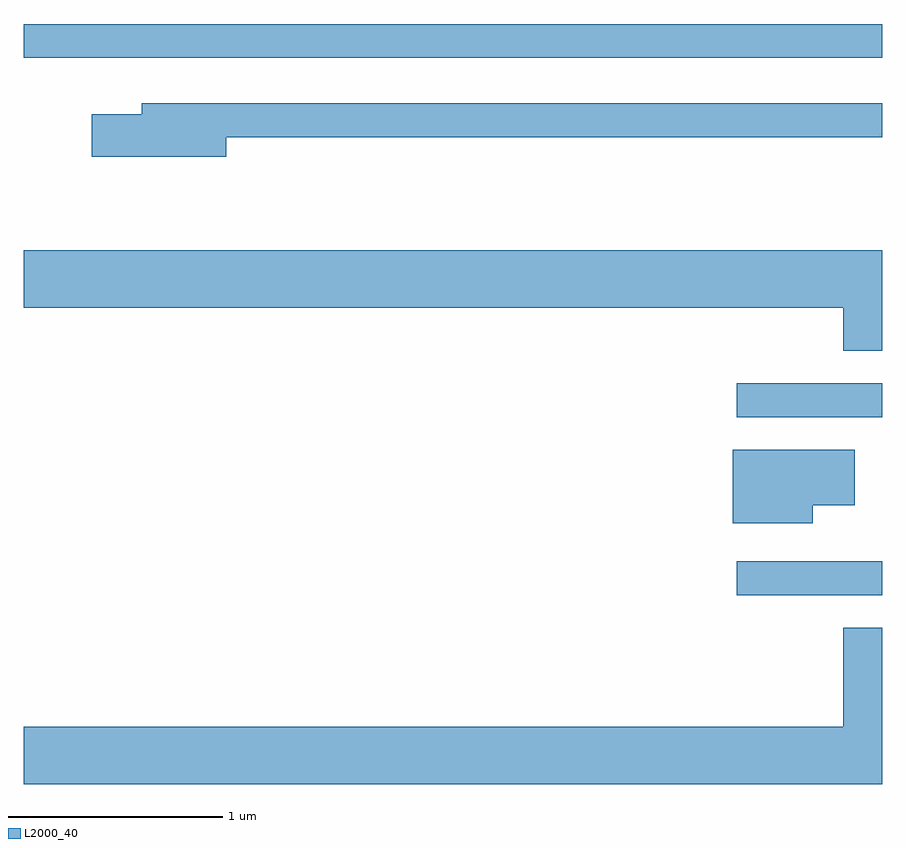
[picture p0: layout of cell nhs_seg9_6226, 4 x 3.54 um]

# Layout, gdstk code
import gdstk
lib = gdstk.Library(unit=1e-6, precision=1e-09)
def R(c, l, rs):  # rectangles x0, y0, x1, y1
    for r in rs: c.add(gdstk.rectangle(r[:2], r[2:], *l))
def P(c, l, *ps):  # polygons
    for p in ps: c.add(gdstk.Polygon(p, *l))
L2000_40 = (2000, 40)

nhs_seg9_6226 = lib.new_cell('nhs_seg9_6226')
R(nhs_seg9_6226, L2000_40, [(372.933,1959.396,373.611,1959.554), (372.933,1960.226,373.611,1960.384), (369.611,1961.901,373.611,1962.059)])
P(nhs_seg9_6226, L2000_40, [(370.554,1961.531),(373.611,1961.531),(373.611,1961.689),(370.161,1961.689),(370.161,1961.639),(369.926,1961.639),(369.926,1961.441),(370.554,1961.441)],
  [(373.611,1961.004),(369.611,1961.004),(369.611,1960.736),(373.431,1960.736),(373.431,1960.536),(373.611,1960.536)],
  [(373.289,1959.816),(373.484,1959.816),(373.484,1960.074),(372.916,1960.074),(372.916,1959.731),(373.289,1959.731)],
  [(373.611,1959.244),(373.431,1959.244),(373.431,1958.784),(369.611,1958.784),(369.611,1958.516),(373.611,1958.516)])

lib.write_gds('nhs_seg9_6226.gds')
